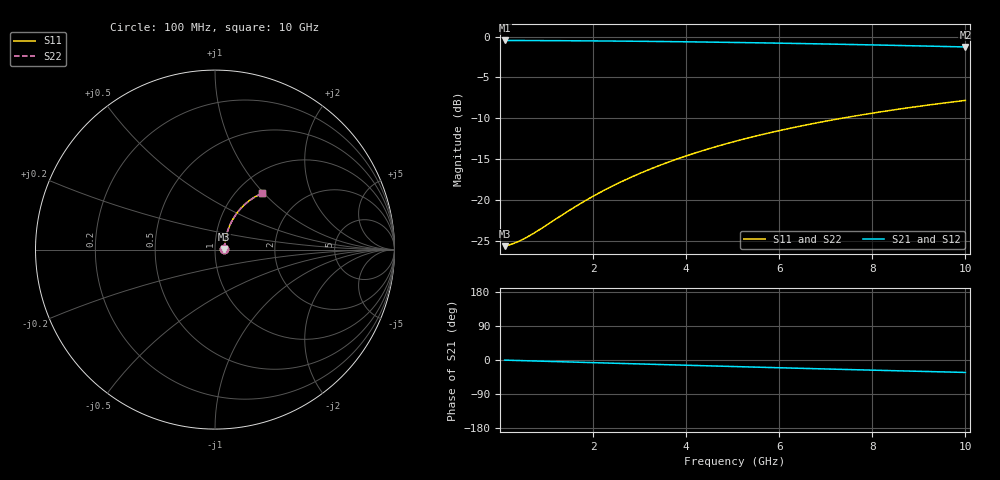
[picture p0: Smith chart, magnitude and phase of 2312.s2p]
# Hz S RI R 50.00
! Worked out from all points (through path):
!   100 points, 100 MHz to 10 GHz, reference 50 ohm
!   highest |S21| = -0.46 dB at 100 MHz (marker M1); lowest = -1.3 dB at 10 GHz (marker M2)
!   group delay of S21, straight-line fit = 9.15 ps
!   lowest |S11| = -25.7 dB at 100 MHz (marker M3), VSWR 1.11, Z = 55.5 + j0.471 ohm
!   |S11| at or under -10 dB: start of sweep to 7.344 GHz
!   |S22| runs from -25.7 to -7.8 dB; largest |S21 - S12| = 0
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1e8  0.0518 0.00424  0.9481 -0.00578  0.9481 -0.00578  0.0518 0.00424
2e8  0.0523 0.00847  0.9477 -0.0116  0.9477 -0.0116  0.0523 0.00847
3e8  0.0526 0.0127  0.9474 -0.0173  0.9474 -0.0173  0.0526 0.0127
4e8  0.053 0.0169  0.947 -0.0231  0.947 -0.0231  0.053 0.0169
6e8  0.0538 0.0253  0.9461 -0.0346  0.9461 -0.0346  0.0538 0.0253
8e8  0.0548 0.0337  0.9451 -0.0461  0.9451 -0.0461  0.0548 0.0337
1.4e9  0.0587 0.0587  0.941 -0.0804  0.941 -0.0804  0.0587 0.0587
1.8e9  0.0622 0.0751  0.9373 -0.103  0.9373 -0.103  0.0622 0.0751
2.2e9  0.0665 0.0913  0.9329 -0.1253  0.9329 -0.1253  0.0665 0.0913
2.6e9  0.0715 0.1072  0.9276 -0.1474  0.9276 -0.1474  0.0715 0.1072
3e9  0.0773 0.1227  0.9216 -0.1692  0.9216 -0.1692  0.0773 0.1227
3.4e9  0.0837 0.1379  0.9149 -0.1906  0.9149 -0.1906  0.0837 0.1379
3.8e9  0.0908 0.1527  0.9074 -0.2116  0.9074 -0.2116  0.0908 0.1527
4.2e9  0.0985 0.1671  0.8993 -0.2322  0.8993 -0.2322  0.0985 0.1671
4.6e9  0.1068 0.181  0.8905 -0.2523  0.8905 -0.2523  0.1068 0.181
5.1e9  0.1181 0.1976  0.8786 -0.2768  0.8786 -0.2768  0.1181 0.1976
5.9e9  0.1377 0.2225  0.8579 -0.3142  0.8579 -0.3142  0.1377 0.2225
6.7e9  0.1592 0.2452  0.8351 -0.3493  0.8351 -0.3493  0.1592 0.2452
7.5e9  0.1822 0.2654  0.8107 -0.3821  0.8107 -0.3821  0.1822 0.2654
8.4e9  0.2095 0.2852  0.7816 -0.416  0.7816 -0.416  0.2095 0.2852
9.2e9  0.2346 0.3001  0.7547 -0.4436  0.7547 -0.4436  0.2346 0.3001
1e10  0.2604 0.3126  0.727 -0.4688  0.727 -0.4688  0.2604 0.3126
